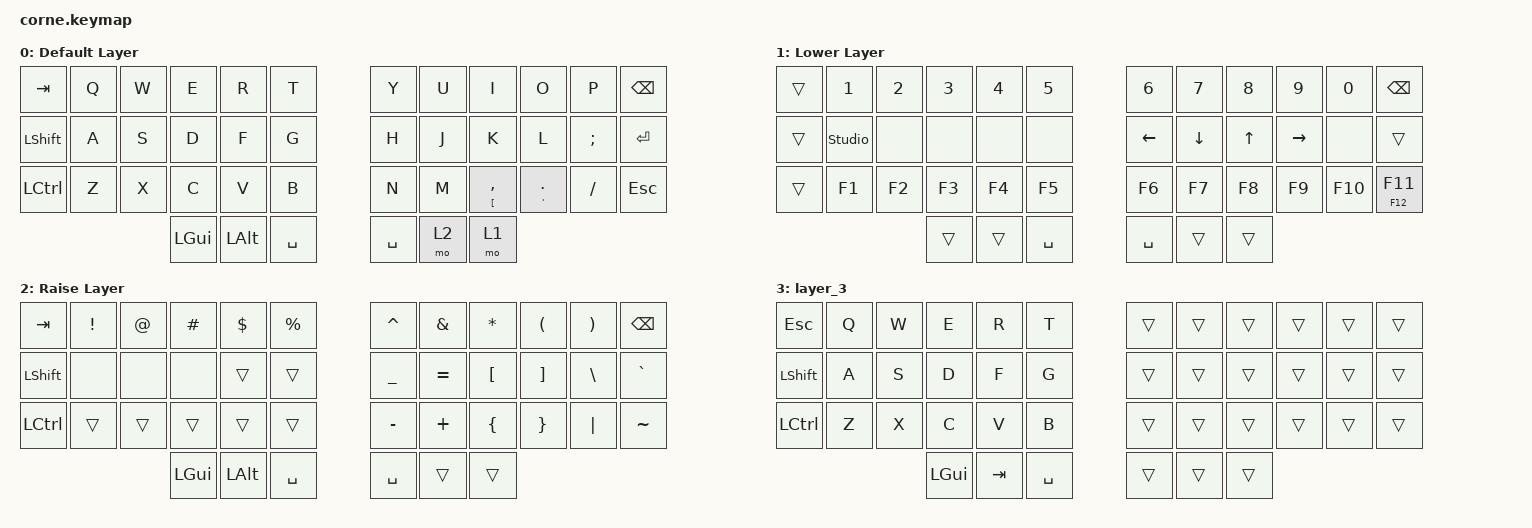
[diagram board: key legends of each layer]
/*
 * Copyright (c) 2020 The ZMK Contributors
 *
 * SPDX-License-Identifier: MIT
 */

#include <behaviors.dtsi>
#include <dt-bindings/zmk/keys.h>

/ {
    combos {
        compatible = "zmk,combos";

        kl {
            bindings = <&kp RIGHT_BRACKET>;
            key-positions = <20 21>;
        };

        cs {
            bindings = <&sl 3>;
            key-positions = <26 13>;
        };
    };

    keymap {
        compatible = "zmk,keymap";

        default_layer {
            display-name = "Default Layer";

            // -----------------------------------------------------------------------------------------
            // |  TAB |  Q  |  W  |  E  |  R  |  T  |   |  Y  |  U   |  I  |  O  |  P  | BSPC |
            // | CTRL |  A  |  S  |  D  |  F  |  G  |   |  H  |  J   |  K  |  L  |  ;  |  '   |
            // | SHFT |  Z  |  X  |  C  |  V  |  B  |   |  N  |  M   |  ,  |  .  |  /  | ESC  |
            //                    | GUI | LWR | SPC |   | ENT | RSE  | ALT |

            bindings = <
&kp TAB         &kp Q  &kp W  &kp E     &kp R         &kp T        &kp Y      &kp U  &kp I                   &kp O         &kp P     &kp BSPC
&kp LEFT_SHIFT  &kp A  &kp S  &kp D     &kp F         &kp G        &kp H      &kp J  &kp K                   &kp L         &kp SEMI  &kp ENTER
&kp LCTRL       &kp Z  &kp X  &kp C     &kp V         &kp B        &kp N      &kp M  &mt LEFT_BRACKET COMMA  &mt APOS DOT  &kp FSLH  &kp ESC
                              &kp LGUI  &kp LEFT_ALT  &kp SPACE    &kp SPACE  &mo 2  &mo 1
            >;
        };

        lower_layer {
            display-name = "Lower Layer";

            // -----------------------------------------------------------------------------------------
            // |  TAB |  1  |  2  |  3  |  4  |  5  |   |  6  |  7  |  8  |  9  |  0  | BSPC |
            // | BTCLR| BT1 | BT2 | BT3 | BT4 | BT5 |   | LFT | DWN |  UP | RGT |     |      |
            // | SHFT |     |     |     |     |     |   |     |     |     |     |     |      |
            //                    | GUI |     | SPC |   | ENT |     | ALT |

            bindings = <
&trans  &kp N1          &kp N2  &kp N3  &kp N4  &kp N5       &kp N6     &kp N7    &kp N8  &kp N9     &kp N0   &kp BSPC
&trans  &studio_unlock  &none   &none   &none   &none        &kp LEFT   &kp DOWN  &kp UP  &kp RIGHT  &none    &trans
&trans  &kp F1          &kp F2  &kp F3  &kp F4  &kp F5       &kp F6     &kp F7    &kp F8  &kp F9     &kp F10  &mt F12 F11
                                &trans  &trans  &kp SPACE    &kp SPACE  &trans    &trans
            >;
        };

        raise_layer {
            display-name = "Raise Layer";

            // -----------------------------------------------------------------------------------------
            // |  TAB |  !  |  @  |  #  |  $  |  %  |   |  ^  |  &  |  *  |  (  |  )  | BSPC |
            // | CTRL |     |     |     |     |     |   |  -  |  =  |  [  |  ]  |  \  |  `   |
            // | SHFT |     |     |     |     |     |   |  _  |  +  |  {  |  }  | "|" |  ~   |
            //                    | GUI |     | SPC |   | ENT |     | ALT |

            bindings = <
&kp TAB         &kp EXCL  &kp AT  &kp HASH  &kp DLLR  &kp PRCNT    &kp CARET  &kp AMPS   &kp ASTRK  &kp LPAR  &kp RPAR  &kp BSPC
&kp LEFT_SHIFT  &none     &none   &none     &trans    &trans       &kp UNDER  &kp EQUAL  &kp LBKT   &kp RBKT  &kp BSLH  &kp GRAVE
&kp LCTRL       &trans    &trans  &trans    &trans    &trans       &kp MINUS  &kp PLUS   &kp LBRC   &kp RBRC  &kp PIPE  &kp TILDE
                                  &kp LGUI  &kp LALT  &kp SPACE    &kp SPACE  &trans     &trans
            >;
        };

        layer_3 {
            bindings = <
&kp ESC    &kp Q  &kp W  &kp E     &kp R    &kp T        &trans  &trans  &trans  &trans  &trans  &trans
&kp LSHFT  &kp A  &kp S  &kp D     &kp F    &kp G        &trans  &trans  &trans  &trans  &trans  &trans
&kp LCTRL  &kp Z  &kp X  &kp C     &kp V    &kp B        &trans  &trans  &trans  &trans  &trans  &trans
                         &kp LGUI  &kp TAB  &kp SPACE    &trans  &trans  &trans
            >;
        };
    };
};
